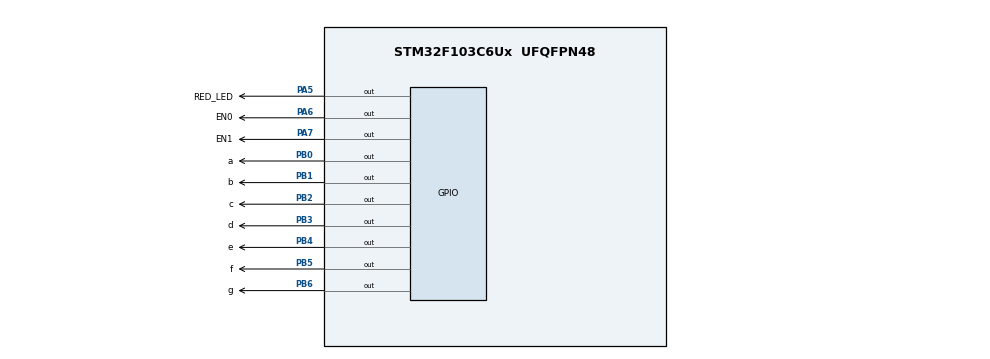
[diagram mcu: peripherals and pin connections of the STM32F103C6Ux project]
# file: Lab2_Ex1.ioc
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Mcu.Family=STM32F1
Mcu.Name=STM32F103C6Ux
Mcu.Package=UFQFPN48
NVIC.PriorityGroup=NVIC_PRIORITYGROUP_4
NVIC.TIM2_IRQn=true\:0\:0\:false\:false\:true\:true\:true
PA5.GPIO_Label=RED_LED
PA5.Signal=GPIO_Output
PA6.GPIO_Label=EN0
PA6.Signal=GPIO_Output
PA7.GPIO_Label=EN1
PA7.Signal=GPIO_Output
PB0.GPIO_Label=a
PB0.Signal=GPIO_Output
PB1.GPIO_Label=b
PB1.Signal=GPIO_Output
PB2.GPIO_Label=c
PB2.Signal=GPIO_Output
PB3.GPIO_Label=d
PB3.Signal=GPIO_Output
PB4.GPIO_Label=e
PB4.Signal=GPIO_Output
PB5.GPIO_Label=f
PB5.Signal=GPIO_Output
PB6.GPIO_Label=g
PB6.Signal=GPIO_Output
ProjectManager.HeapSize=0x200
ProjectManager.StackSize=0x400
ProjectManager.TargetToolchain=STM32CubeIDE
RCC.APB1Freq_Value=8000000
RCC.APB1TimFreq_Value=8000000
RCC.APB2Freq_Value=8000000
TIM2.Period=9
TIM2.Prescaler=7999
VP_SYS_VS_ND.Mode=No_Debug
VP_TIM2_VS_ClockSourceINT.Mode=Internal
board=custom

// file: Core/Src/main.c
/* USER CODE BEGIN Header */
/**
  ******************************************************************************
  * @file           : main.c
  * @brief          : Main program body
  ******************************************************************************
  * @attention
  *
  * <h2><center>&copy; Copyright (c) 2022 STMicroelectronics.
  * All rights reserved.</center></h2>
  *
  * This software component is licensed by ST under BSD 3-Clause license,
  * the "License"; You may not use this file except in compliance with the
  * License. You may obtain a copy of the License at:
  *                        opensource.org/licenses/BSD-3-Clause
  *
  ******************************************************************************
  */
/* USER CODE END Header */
#include "main.h"

TIM_HandleTypeDef htim2;

void SystemClock_Config(void);
static void MX_GPIO_Init(void);
static void MX_TIM2_Init(void);

/* USER CODE BEGIN 0 */
	void display7SEG(int num);

/* USER CODE END 0 */

int main(void)
{

  /* MCU Configuration--------------------------------------------------------*/

  /* Reset of all peripherals, Initializes the Flash interface and the Systick. */
  HAL_Init();

  /* Configure the system clock */
  SystemClock_Config();

  /* Initialize all configured peripherals */
  MX_GPIO_Init();
  MX_TIM2_Init();
  /* USER CODE BEGIN 2 */
  HAL_TIM_Base_Start_IT(&htim2);
  /* USER CODE END 2 */

  /* Infinite loop */
  while (1)
  {

  }
}

void SystemClock_Config(void)
{
  RCC_OscInitTypeDef RCC_OscInitStruct = {0};
  RCC_ClkInitTypeDef RCC_ClkInitStruct = {0};

  /** Initializes the RCC Oscillators according to the specified parameters
  * in the RCC_OscInitTypeDef structure.
  */
  RCC_OscInitStruct.OscillatorType = RCC_OSCILLATORTYPE_HSI;
  RCC_OscInitStruct.HSIState = RCC_HSI_ON;
  RCC_OscInitStruct.HSICalibrationValue = RCC_HSICALIBRATION_DEFAULT;
  RCC_OscInitStruct.PLL.PLLState = RCC_PLL_NONE;
  if (HAL_RCC_OscConfig(&RCC_OscInitStruct) != HAL_OK)
  {
    Error_Handler();
  }
  /** Initializes the CPU, AHB and APB buses clocks
  */
  RCC_ClkInitStruct.ClockType = RCC_CLOCKTYPE_HCLK|RCC_CLOCKTYPE_SYSCLK
                              |RCC_CLOCKTYPE_PCLK1|RCC_CLOCKTYPE_PCLK2;
  RCC_ClkInitStruct.SYSCLKSource = RCC_SYSCLKSOURCE_HSI;
  RCC_ClkInitStruct.AHBCLKDivider = RCC_SYSCLK_DIV1;
  RCC_ClkInitStruct.APB1CLKDivider = RCC_HCLK_DIV1;
  RCC_ClkInitStruct.APB2CLKDivider = RCC_HCLK_DIV1;

  if (HAL_RCC_ClockConfig(&RCC_ClkInitStruct, FLASH_LATENCY_0) != HAL_OK)
  {
    Error_Handler();
  }
}

static void MX_TIM2_Init(void)
{

  TIM_ClockConfigTypeDef sClockSourceConfig = {0};
  TIM_MasterConfigTypeDef sMasterConfig = {0};

  htim2.Instance = TIM2;
  htim2.Init.Prescaler = 7999;
  htim2.Init.CounterMode = TIM_COUNTERMODE_UP;
  htim2.Init.Period = 9;
  htim2.Init.ClockDivision = TIM_CLOCKDIVISION_DIV1;
  htim2.Init.AutoReloadPreload = TIM_AUTORELOAD_PRELOAD_DISABLE;
  if (HAL_TIM_Base_Init(&htim2) != HAL_OK)
  {
    Error_Handler();
  }
  sClockSourceConfig.ClockSource = TIM_CLOCKSOURCE_INTERNAL;
  if (HAL_TIM_ConfigClockSource(&htim2, &sClockSourceConfig) != HAL_OK)
  {
    Error_Handler();
  }
  sMasterConfig.MasterOutputTrigger = TIM_TRGO_RESET;
  sMasterConfig.MasterSlaveMode = TIM_MASTERSLAVEMODE_DISABLE;
  if (HAL_TIMEx_MasterConfigSynchronization(&htim2, &sMasterConfig) != HAL_OK)
  {
    Error_Handler();
  }

}

static void MX_GPIO_Init(void)
{
  GPIO_InitTypeDef GPIO_InitStruct = {0};

  /* GPIO Ports Clock Enable */
  __HAL_RCC_GPIOA_CLK_ENABLE();
  __HAL_RCC_GPIOB_CLK_ENABLE();

  /*Configure GPIO pin Output Level */
  HAL_GPIO_WritePin(GPIOA, RED_LED_Pin|EN0_Pin|EN1_Pin, GPIO_PIN_RESET);

  /*Configure GPIO pin Output Level */
  HAL_GPIO_WritePin(GPIOB, a_Pin|b_Pin|c_Pin|d_Pin
                          |e_Pin|f_Pin|g_Pin, GPIO_PIN_RESET);

  /*Configure GPIO pins : RED_LED_Pin EN0_Pin EN1_Pin */
  GPIO_InitStruct.Pin = RED_LED_Pin|EN0_Pin|EN1_Pin;
  GPIO_InitStruct.Mode = GPIO_MODE_OUTPUT_PP;
  GPIO_InitStruct.Pull = GPIO_NOPULL;
  GPIO_InitStruct.Speed = GPIO_SPEED_FREQ_LOW;
  HAL_GPIO_Init(GPIOA, &GPIO_InitStruct);

  /*Configure GPIO pins : a_Pin b_Pin c_Pin d_Pin
                           e_Pin f_Pin g_Pin */
  GPIO_InitStruct.Pin = a_Pin|b_Pin|c_Pin|d_Pin
                          |e_Pin|f_Pin|g_Pin;
  GPIO_InitStruct.Mode = GPIO_MODE_OUTPUT_PP;
  GPIO_InitStruct.Pull = GPIO_NOPULL;
  GPIO_InitStruct.Speed = GPIO_SPEED_FREQ_LOW;
  HAL_GPIO_Init(GPIOB, &GPIO_InitStruct);

}

/* USER CODE BEGIN 4 */
int counter = 50;
int flag = 0;
void HAL_TIM_PeriodElapsedCallback(TIM_HandleTypeDef *htim){
	counter = counter - 1;
	if(counter<=0){
		//reset counter
		counter = 50;
		if(flag == 0){		//led 1 on
			HAL_GPIO_WritePin(EN0_GPIO_Port, EN0_Pin, GPIO_PIN_RESET);
			HAL_GPIO_WritePin(EN1_GPIO_Port, EN1_Pin, GPIO_PIN_SET);
			display7SEG(1);
		}
		if(flag == 1){		//led 2 on
			HAL_GPIO_WritePin(EN0_GPIO_Port, EN0_Pin, GPIO_PIN_SET);
			HAL_GPIO_WritePin(EN1_GPIO_Port, EN1_Pin, GPIO_PIN_RESET);
			display7SEG(2);
		}
		//toggle flag state
		flag = 1 - flag;
	}
}
//a to g equal to seg0 to seg6
void display7SEG(int num)
{
	if(num==0 || num==2 || num==3 || num==5 || num==6
			|| num==7 || num==8 || num==9){
		HAL_GPIO_WritePin(a_GPIO_Port, a_Pin, GPIO_PIN_RESET);
	}
	else HAL_GPIO_WritePin(a_GPIO_Port, a_Pin, GPIO_PIN_SET);

	if(num==0 || num==1 || num==2 || num==3 || num==4
		|| num==7 || num==8 || num==9){
		HAL_GPIO_WritePin(b_GPIO_Port, b_Pin, GPIO_PIN_RESET);
	}
	else HAL_GPIO_WritePin(b_GPIO_Port, b_Pin, GPIO_PIN_SET);

	if(num==0 || num==1 || num==3 || num==4 || num==5 || num==6
			|| num==7 || num==8 || num==9){
		HAL_GPIO_WritePin(c_GPIO_Port, c_Pin, GPIO_PIN_RESET);
	}
	else HAL_GPIO_WritePin(c_GPIO_Port, c_Pin, GPIO_PIN_SET);

	if(num==0 || num==2 || num==3 || num==5 || num==6 || num==8 ||num==9){
		HAL_GPIO_WritePin(d_GPIO_Port, d_Pin, GPIO_PIN_RESET);
	}
	else HAL_GPIO_WritePin(d_GPIO_Port, d_Pin, GPIO_PIN_SET);

	if(num==0 || num==2 || num==6 || num==8){
		HAL_GPIO_WritePin(e_GPIO_Port, e_Pin, GPIO_PIN_RESET);
	}
	else HAL_GPIO_WritePin(e_GPIO_Port, e_Pin, GPIO_PIN_SET);

	if(num==0 || num==4 || num==5 || num==6 || num==8 ||num==9){
		HAL_GPIO_WritePin(f_GPIO_Port, f_Pin, GPIO_PIN_RESET);
	}
	else HAL_GPIO_WritePin(f_GPIO_Port, f_Pin, GPIO_PIN_SET);

	if(num==2 || num==3 || num==4 || num==5 || num==6 || num==8 || num==9){
		HAL_GPIO_WritePin(g_GPIO_Port, g_Pin, GPIO_PIN_RESET);
	}
	else HAL_GPIO_WritePin(g_GPIO_Port, g_Pin, GPIO_PIN_SET);

}
/* USER CODE END 4 */

void Error_Handler(void)
{
  __disable_irq();
  while (1)
  {
  }
}

/************************ (C) COPYRIGHT STMicroelectronics *****END OF FILE****/
